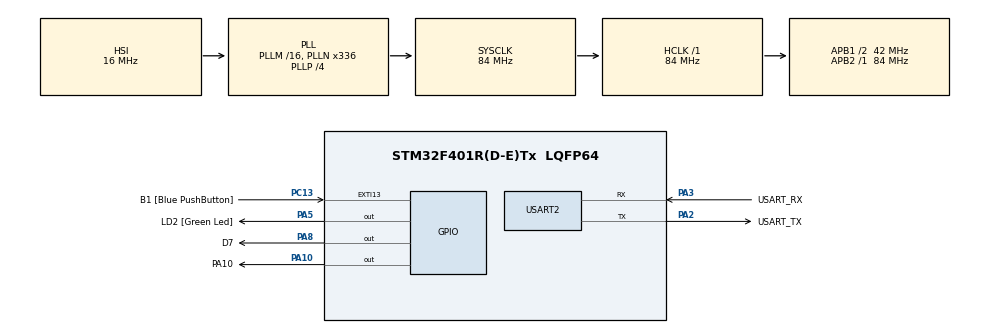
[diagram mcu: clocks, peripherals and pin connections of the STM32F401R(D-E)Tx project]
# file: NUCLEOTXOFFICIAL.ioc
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FREERTOS.Tasks01=defaultTask,0,128,StartDefaultTask,Default,NULL,Dynamic,NULL,NULL;myTask02,0,128,StartTask02,Default,NULL,Dynamic,NULL,NULL;myTask03,0,128,StartTask03,Default,NULL,Dynamic,NULL,NULL
Mcu.Family=STM32F4
Mcu.Name=STM32F401R(D-E)Tx
Mcu.Package=LQFP64
NVIC.PriorityGroup=NVIC_PRIORITYGROUP_4
PA10.GPIO_Label=PA10
PA10.Signal=GPIO_Output
PA13.GPIO_Label=TMS
PA13.Mode=Serial_Wire
PA13.Signal=SYS_JTMS-SWDIO
PA14.GPIO_Label=TCK
PA14.Mode=Serial_Wire
PA14.Signal=SYS_JTCK-SWCLK
PA2.GPIO_Label=USART_TX
PA2.GPIO_Mode=GPIO_MODE_AF_PP
PA2.GPIO_PuPd=GPIO_NOPULL
PA2.GPIO_Speed=GPIO_SPEED_FREQ_LOW
PA2.Mode=Asynchronous
PA2.Signal=USART2_TX
PA3.GPIO_Label=USART_RX
PA3.GPIO_Mode=GPIO_MODE_AF_PP
PA3.GPIO_PuPd=GPIO_NOPULL
PA3.GPIO_Speed=GPIO_SPEED_FREQ_LOW
PA3.Mode=Asynchronous
PA3.Signal=USART2_RX
PA5.GPIO_Label=LD2 [Green Led]
PA5.GPIO_Mode=GPIO_MODE_OUTPUT_PP
PA5.GPIO_PuPd=GPIO_NOPULL
PA5.GPIO_Speed=GPIO_SPEED_FREQ_LOW
PA5.Signal=GPIO_Output
PA8.GPIO_Label=D7
PA8.Signal=GPIO_Output
PB3.GPIO_Label=SWO
PB3.Signal=SYS_JTDO-SWO
PC13-ANTI_TAMP.GPIO_Label=B1 [Blue PushButton]
PC13-ANTI_TAMP.GPIO_ModeDefaultEXTI=GPIO_MODE_IT_FALLING
PC13-ANTI_TAMP.GPIO_PuPd=GPIO_NOPULL
PC13-ANTI_TAMP.Signal=GPXTI13
PC14-OSC32_IN.Mode=LSE-External-Oscillator
PC14-OSC32_IN.Signal=RCC_OSC32_IN
PC15-OSC32_OUT.Mode=LSE-External-Oscillator
PC15-OSC32_OUT.Signal=RCC_OSC32_OUT
PH0\ -\ OSC_IN.Mode=HSE-External-Clock-Source
PH0\ -\ OSC_IN.Signal=RCC_OSC_IN
PH1\ -\ OSC_OUT.Mode=HSE-External-Clock-Source
PH1\ -\ OSC_OUT.Signal=RCC_OSC_OUT
ProjectManager.HeapSize=0x200
ProjectManager.StackSize=0x400
ProjectManager.TargetToolchain=SW4STM32
RCC.48MHZClocksFreq_Value=48000000
RCC.AHBFreq_Value=84000000
RCC.APB1CLKDivider=RCC_HCLK_DIV2
RCC.APB1Freq_Value=42000000
RCC.APB1TimFreq_Value=84000000
RCC.APB2Freq_Value=84000000
RCC.APB2TimFreq_Value=84000000
RCC.CortexFreq_Value=84000000
RCC.HCLKFreq_Value=84000000
RCC.HSE_VALUE=8000000
RCC.HSI_VALUE=16000000
RCC.PLLN=336
RCC.PLLP=RCC_PLLP_DIV4
RCC.PLLQ=7
RCC.SYSCLKFreq_VALUE=84000000
RCC.SYSCLKSource=RCC_SYSCLKSOURCE_PLLCLK
RCC.VCOOutputFreq_Value=336000000
USART2.VirtualMode=VM_ASYNC
VP_FREERTOS_VS_CMSIS_V1.Mode=CMSIS_V1
board=NUCLEO-F401RE

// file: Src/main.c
/* USER CODE BEGIN Header */
/**
  ******************************************************************************
  * @file           : main.c
  * @brief          : Main program body
  ******************************************************************************
  * @attention
  *
  * <h2><center>&copy; Copyright (c) 2019 STMicroelectronics.
  * All rights reserved.</center></h2>
  *
  * This software component is licensed by ST under Ultimate Liberty license
  * SLA0044, the "License"; You may not use this file except in compliance with
  * the License. You may obtain a copy of the License at:
  *                             www.st.com/SLA0044
  *
  ******************************************************************************
  */
/* USER CODE END Header */

#include "main.h"
#include "cmsis_os.h"

UART_HandleTypeDef huart2;

osThreadId defaultTaskHandle;
osThreadId myTask02Handle;
osThreadId myTask03Handle;

void SystemClock_Config(void);
static void MX_GPIO_Init(void);
static void MX_USART2_UART_Init(void);
void StartDefaultTask(void const * argument);
void StartTask02(void const * argument);
void StartTask03(void const * argument);

int main(void)
{

  /* MCU Configuration--------------------------------------------------------*/

  /* Reset of all peripherals, Initializes the Flash interface and the Systick. */
  HAL_Init();

  /* Configure the system clock */
  SystemClock_Config();

  /* Initialize all configured peripherals */
  MX_GPIO_Init();
  MX_USART2_UART_Init();

  /* Create the thread(s) */
  /* definition and creation of defaultTask */
  osThreadDef(defaultTask, StartDefaultTask, osPriorityNormal, 0, 128);
  defaultTaskHandle = osThreadCreate(osThread(defaultTask), NULL);

  /* definition and creation of myTask02 */
  osThreadDef(myTask02, StartTask02, osPriorityNormal, 0, 128);
  myTask02Handle = osThreadCreate(osThread(myTask02), NULL);

  /* definition and creation of myTask03 */
  osThreadDef(myTask03, StartTask03, osPriorityNormal, 0, 128);
  myTask03Handle = osThreadCreate(osThread(myTask03), NULL);

  /* Start scheduler */
  osKernelStart();

  /* We should never get here as control is now taken by the scheduler */

  /* Infinite loop */
  while (1)
  {

  }
}

void SystemClock_Config(void)
{
  RCC_OscInitTypeDef RCC_OscInitStruct = {0};
  RCC_ClkInitTypeDef RCC_ClkInitStruct = {0};

  /** Configure the main internal regulator output voltage
  */
  __HAL_RCC_PWR_CLK_ENABLE();
  __HAL_PWR_VOLTAGESCALING_CONFIG(PWR_REGULATOR_VOLTAGE_SCALE2);
  /** Initializes the CPU, AHB and APB busses clocks
  */
  RCC_OscInitStruct.OscillatorType = RCC_OSCILLATORTYPE_HSI;
  RCC_OscInitStruct.HSIState = RCC_HSI_ON;
  RCC_OscInitStruct.HSICalibrationValue = RCC_HSICALIBRATION_DEFAULT;
  RCC_OscInitStruct.PLL.PLLState = RCC_PLL_ON;
  RCC_OscInitStruct.PLL.PLLSource = RCC_PLLSOURCE_HSI;
  RCC_OscInitStruct.PLL.PLLM = 16;
  RCC_OscInitStruct.PLL.PLLN = 336;
  RCC_OscInitStruct.PLL.PLLP = RCC_PLLP_DIV4;
  RCC_OscInitStruct.PLL.PLLQ = 7;
  if (HAL_RCC_OscConfig(&RCC_OscInitStruct) != HAL_OK)
  {
    Error_Handler();
  }
  /** Initializes the CPU, AHB and APB busses clocks
  */
  RCC_ClkInitStruct.ClockType = RCC_CLOCKTYPE_HCLK|RCC_CLOCKTYPE_SYSCLK
                              |RCC_CLOCKTYPE_PCLK1|RCC_CLOCKTYPE_PCLK2;
  RCC_ClkInitStruct.SYSCLKSource = RCC_SYSCLKSOURCE_PLLCLK;
  RCC_ClkInitStruct.AHBCLKDivider = RCC_SYSCLK_DIV1;
  RCC_ClkInitStruct.APB1CLKDivider = RCC_HCLK_DIV2;
  RCC_ClkInitStruct.APB2CLKDivider = RCC_HCLK_DIV1;

  if (HAL_RCC_ClockConfig(&RCC_ClkInitStruct, FLASH_LATENCY_2) != HAL_OK)
  {
    Error_Handler();
  }
}

static void MX_USART2_UART_Init(void)
{

  huart2.Instance = USART2;
  huart2.Init.BaudRate = 115200;
  huart2.Init.WordLength = UART_WORDLENGTH_8B;
  huart2.Init.StopBits = UART_STOPBITS_1;
  huart2.Init.Parity = UART_PARITY_NONE;
  huart2.Init.Mode = UART_MODE_TX_RX;
  huart2.Init.HwFlowCtl = UART_HWCONTROL_NONE;
  huart2.Init.OverSampling = UART_OVERSAMPLING_16;
  if (HAL_UART_Init(&huart2) != HAL_OK)
  {
    Error_Handler();
  }

}

static void MX_GPIO_Init(void)
{
  GPIO_InitTypeDef GPIO_InitStruct = {0};

  /* GPIO Ports Clock Enable */
  __HAL_RCC_GPIOC_CLK_ENABLE();
  __HAL_RCC_GPIOH_CLK_ENABLE();
  __HAL_RCC_GPIOA_CLK_ENABLE();
  __HAL_RCC_GPIOB_CLK_ENABLE();

  /*Configure GPIO pin Output Level */
  HAL_GPIO_WritePin(GPIOA, LD2_Pin|D7_Pin|PA10_Pin, GPIO_PIN_RESET);

  /*Configure GPIO pin : B1_Pin */
  GPIO_InitStruct.Pin = B1_Pin;
  GPIO_InitStruct.Mode = GPIO_MODE_IT_FALLING;
  GPIO_InitStruct.Pull = GPIO_NOPULL;
  HAL_GPIO_Init(B1_GPIO_Port, &GPIO_InitStruct);

  /*Configure GPIO pins : LD2_Pin D7_Pin PA10_Pin */
  GPIO_InitStruct.Pin = LD2_Pin|D7_Pin|PA10_Pin;
  GPIO_InitStruct.Mode = GPIO_MODE_OUTPUT_PP;
  GPIO_InitStruct.Pull = GPIO_NOPULL;
  GPIO_InitStruct.Speed = GPIO_SPEED_FREQ_LOW;
  HAL_GPIO_Init(GPIOA, &GPIO_InitStruct);

}

void StartDefaultTask(void const * argument)
{

  for(;;)
  {
    osDelay(1);
  }
}

/* USER CODE BEGIN Header_StartTask02 */
/**
* @brief Function implementing the myTask02 thread.
* @param argument: Not used
* @retval None
*/
int globalVariable=0;
/* USER CODE END Header_StartTask02 */
void StartTask02(void const * argument)
{

  /* USER CODE BEGIN StartTask02 */
  /* Infinite loop */
  for(;;)
  {
	 // HAL_UART_Transmit(&huart2,(uint8_t *)"Hello world\n",14,1000);
    if (globalVariable==1){
    	HAL_GPIO_TogglePin(GPIOA,GPIO_PIN_5);
    	HAL_GPIO_WritePin(GPIOA,GPIO_PIN_10,1);
    }
    else
    HAL_GPIO_WritePin(GPIOA,GPIO_PIN_10,0);
    osDelay(400);

  }
  /* USER CODE END StartTask02 */
}

void StartTask03(void const * argument)
{
  /* USER CODE BEGIN StartTask03 */
  /* Infinite loop */
  for(;;)
  {

	int stateOfButton=HAL_GPIO_ReadPin(GPIOC,GPIO_PIN_13);
	HAL_GPIO_WritePin(GPIOA,GPIO_PIN_8,!stateOfButton);

	if(!stateOfButton){
		if(globalVariable==0)
		globalVariable=1;
		else  {

			globalVariable=0;

		}
	}

    osDelay(400);
  }
  /* USER CODE END StartTask03 */
}

void Error_Handler(void)
{
}

/************************ (C) COPYRIGHT STMicroelectronics *****END OF FILE****/
